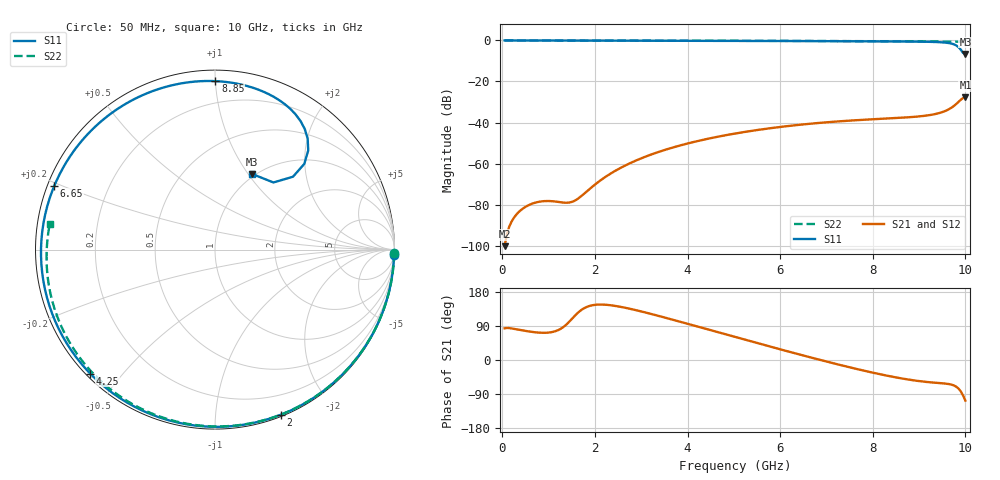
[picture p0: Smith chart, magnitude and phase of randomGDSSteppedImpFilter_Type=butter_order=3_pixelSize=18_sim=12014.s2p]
! freq	dB(S11)	phase(S11)	dB(S12)	phase(S12)
!  dB(S21)	phase(S21)	dB(S22)	phase(S22)
!S-par simulation data
#  GHz  S  DB  R 50
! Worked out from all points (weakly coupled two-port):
!   200 points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, 50 MHz to 10 GHz, reference 50 ohm
!   highest |S21| = -27.72 dB at 10 GHz (marker M1); lowest = -100.2 dB at 50 MHz (marker M2)
!   lowest |S11| = -6.6 dB at 10 GHz (marker M3), VSWR 2.77, Z = 48.4 + j52.3 ohm
!   |S11| at or under -10 dB: nowhere
!   |S22| runs from -0.6 to 0.0 dB; largest |S21 - S12| = 0
!   S11 on the Smith chart (normalised r, x): 50 MHz: 4, -63; 2 GHz: 0.02, -1.48; 4.25 GHz: 0.01, -0.41; 6.65 GHz: 0.02, +0.19; 8.85 GHz: 0.06, +1.00; 10 GHz: 0.97, +1.05
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0.05  -0.02 -1.8  -100.20 83.5  -100.20 83.5  -0.01 -1.0
0.7  -0.03 -24.6  -79.09 73.3  -79.09 73.3  -0.02 -14.6
0.95  -0.04 -33.2  -78.21 72.0  -78.21 72.0  -0.02 -19.8
1.45  -0.06 -50.2  -78.94 101.5  -78.94 101.5  -0.04 -30.1
1.75  -0.07 -60.1  -74.98 135.4  -74.98 135.4  -0.05 -36.2
2  -0.08 -68.2  -70.23 145.5  -70.23 145.5  -0.05 -41.2
2.6  -0.11 -87.1  -61.54 139.2  -61.54 139.2  -0.07 -53.1
3.4  -0.14 -111.0  -54.12 115.6  -54.12 115.6  -0.09 -68.6
4.25  -0.17 -135.1  -48.84 87.1  -48.84 87.1  -0.12 -84.4
5.05  -0.22 -157.2  -45.26 59.9  -45.26 59.9  -0.15 -98.9
5.85  -0.27 -179.2  -42.57 33.1  -42.57 33.1  -0.20 -113.1
6.65  -0.32 158.4  -40.57 7.0  -40.57 7.0  -0.25 -127.1
6.7  -0.33 156.9  -40.46 5.4  -40.46 5.4  -0.25 -127.9
7.5  -0.39 133.4  -39.05 -19.2  -39.05 -19.2  -0.32 -141.9
8.35  -0.47 106.8  -37.98 -42.4  -37.98 -42.4  -0.40 -157.1
8.85  -0.55 89.9  -37.30 -53.1  -37.30 -53.1  -0.46 -166.4
9.4  -0.80 68.8  -35.58 -60.5  -35.58 -60.5  -0.54 -176.9
9.6  -1.14 59.2  -34.00 -62.7  -34.00 -62.7  -0.57 179.2
9.75  -1.88 50.1  -31.93 -67.1  -31.93 -67.1  -0.58 176.2
9.85  -3.23 43.8  -29.97 -75.2  -29.97 -75.2  -0.60 174.2
9.95  -6.09 49.0  -28.05 -93.6  -28.05 -93.6  -0.61 172.2
10  -6.57 63.8  -27.72 -107.2  -27.72 -107.2  -0.62 171.2
